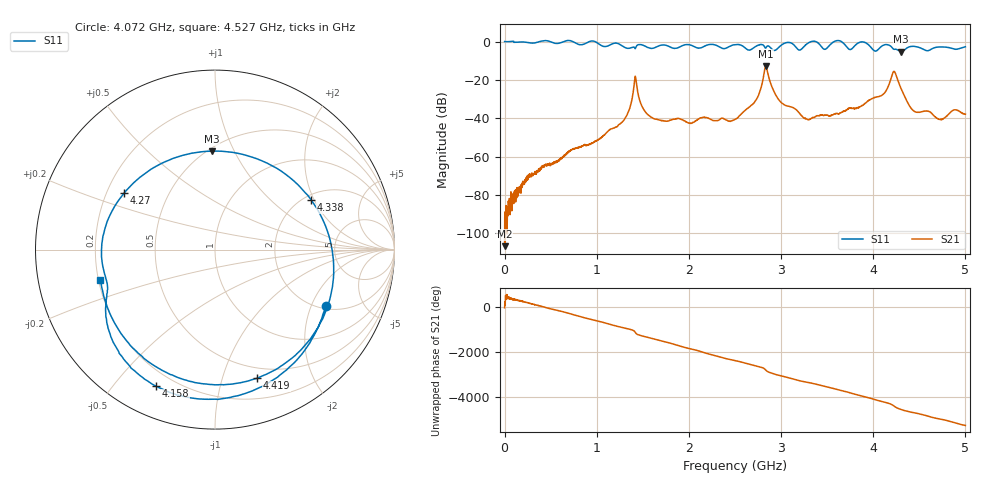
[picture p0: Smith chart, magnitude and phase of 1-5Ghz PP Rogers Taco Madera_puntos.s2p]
! NanoVNA-App
! Date: 2025-10-30 21:03:22
! Start: 10kHz Stop: 5GHz Points: 3201
! S-Parameter data: F S11 S21 S12 S22
# Hz S RI R 50
!  Frequency  S11_Real  S11_Imag  S21_Real  S21_Imag  S12_Real  S12_Imag  S22_Real  S22_Imag
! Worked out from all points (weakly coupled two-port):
!   3201 points, 10 kHz to 5 GHz, reference 50 ohm
!   highest |S21| = -12.95 dB at 2.833 GHz (marker M1); lowest = -106.7 dB at 10 kHz (marker M2)
!   lowest |S11| = -5.2 dB at 4.303 GHz (marker M3), VSWR 3.43, Z = 26.1 + j40.9 ohm
!   |S11| at or under -10 dB: nowhere
!   S12 and S22 are empty: the file has one direction only
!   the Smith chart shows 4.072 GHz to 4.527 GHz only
!   S11 on the Smith chart (normalised r, x): 4.072 GHz: 2.14, -2.55; 4.158 GHz: 0.13, -0.65; 4.27 GHz: 0.27, +0.27; 4.338 GHz: 2.18, +1.90; 4.419 GHz: 0.39, -1.31; 4.527 GHz: 0.21, -0.12
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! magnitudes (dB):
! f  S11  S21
! 10 kHz  0.0  -106.7
! 834.4 MHz  -1.6  -54.9
! 1.283 GHz  -2.5  -41.6
! 1.352 GHz  -3.5  -35.6
! 1.419 GHz  -3.6  -18.1
! 1.514 GHz  -2.1  -35.8
! 1.667 GHz  -2.4  -40.7
! 2.5 GHz  -1.6  -40.6
! 2.725 GHz  -2.5  -30.7
! 2.833 GHz  -3.4  -13.0
! 2.997 GHz  -2.1  -31.6
! 3.334 GHz  0.1  -39.8
! 4.072 GHz  -3.2  -28.5
! 4.158 GHz  -1.6  -23.9
! 4.167 GHz  -1.8  -22.8
! 4.222 GHz  -4.0  -15.6
! 4.27 GHz  -4.5  -20.6
! 4.303 GHz  -5.2  -24.6
! 4.338 GHz  -4.4  -28.2
! 4.419 GHz  -2.5  -35.2
! 4.527 GHz  -3.6  -36.6
! 5 GHz  -2.7  -37.9
